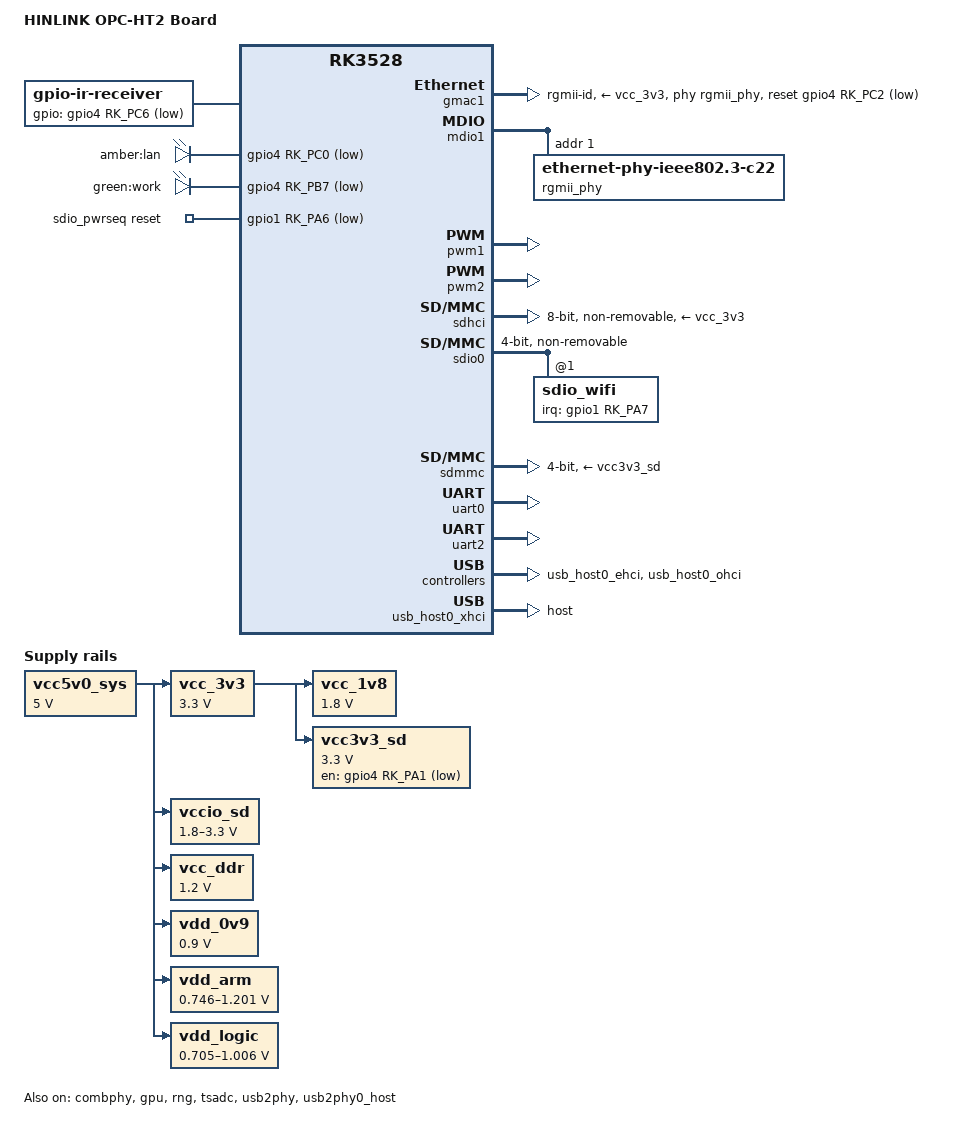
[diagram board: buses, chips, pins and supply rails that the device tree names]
// SPDX-License-Identifier: (GPL-2.0+ OR MIT)

/dts-v1/;
#include <dt-bindings/gpio/gpio.h>
#include <dt-bindings/pinctrl/rockchip.h>

#include "rk3528.dtsi"

/ {
	model = "HINLINK OPC-HT2 Board";
	compatible = "hinlink,opc-ht2", "rockchip,rk3528";

	aliases {
		mmc0 = &sdhci;
		mmc1 = &sdmmc;
		mmc2 = &sdio0;
		ethernet0 = &gmac1;

		led-boot = &led_work;
		led-failsafe = &led_work;
		led-running = &led_work;
		led-upgrade = &led_work;
	};

	chosen {
		stdout-path = "serial0:1500000n8";
	};

	ir-receiver {
		compatible = "gpio-ir-receiver";
		gpios = <&gpio4 RK_PC6 GPIO_ACTIVE_LOW>;
		pinctrl-names = "default";
		pinctrl-0 = <&ir_int_pin>;
	};

	leds {
		compatible = "gpio-leds";
		pinctrl-names = "default";
		pinctrl-0 = <&lan_led_en>, <&work_led_en>;

		lan {
			label = "amber:lan";
			gpios = <&gpio4 RK_PC0 GPIO_ACTIVE_LOW>;
		};

		led_work: work {
			label = "green:work";
			gpios = <&gpio4 RK_PB7 GPIO_ACTIVE_LOW>;
		};
	};

	sdio_pwrseq: sdio-pwrseq {
		compatible = "mmc-pwrseq-simple";
		pinctrl-names = "default";
		pinctrl-0 = <&wifi_enable_h>;
		reset-gpios = <&gpio1 RK_PA6 GPIO_ACTIVE_LOW>;
	};

	vcc5v0_sys: vcc5v0-sys {
		compatible = "regulator-fixed";
		regulator-name = "vcc5v0_sys";
		regulator-always-on;
		regulator-boot-on;
		regulator-min-microvolt = <5000000>;
		regulator-max-microvolt = <5000000>;
	};

	vcc_3v3: vcc-3v3 {
		compatible = "regulator-fixed";
		regulator-name = "vcc_3v3";
		regulator-always-on;
		regulator-boot-on;
		regulator-min-microvolt = <3300000>;
		regulator-max-microvolt = <3300000>;
		vin-supply = <&vcc5v0_sys>;
	};

	vcc_1v8: vcc-1v8 {
		compatible = "regulator-fixed";
		regulator-name = "vcc_1v8";
		regulator-always-on;
		regulator-boot-on;
		regulator-min-microvolt = <1800000>;
		regulator-max-microvolt = <1800000>;
		vin-supply = <&vcc_3v3>;
	};

	vcc3v3_sd: vcc3v3-sd {
		compatible = "regulator-fixed";
		gpio = <&gpio4 RK_PA1 GPIO_ACTIVE_LOW>;
		regulator-name = "vcc3v3_sd";
		regulator-always-on;
		regulator-boot-on;
		regulator-min-microvolt = <3300000>;
		regulator-max-microvolt = <3300000>;
		vin-supply = <&vcc_3v3>;
	};

	vccio_sd: vccio-sd {
		compatible = "regulator-gpio";
		gpios = <&gpio4 RK_PB6 GPIO_ACTIVE_HIGH>;
		regulator-name = "vccio_sd";
		regulator-min-microvolt = <1800000>;
		regulator-max-microvolt = <3300000>;
		states = <1800000 0x0>, <3300000 0x1>;
		vin-supply = <&vcc5v0_sys>;
	};

	vcc_ddr: vcc-ddr {
		compatible = "regulator-fixed";
		regulator-name = "vcc_ddr";
		regulator-always-on;
		regulator-boot-on;
		regulator-min-microvolt = <1200000>;
		regulator-max-microvolt = <1200000>;
		vin-supply = <&vcc5v0_sys>;
	};

	vdd_0v9: vdd-0v9 {
		compatible = "regulator-fixed";
		regulator-name = "vdd_0v9";
		regulator-always-on;
		regulator-boot-on;
		regulator-min-microvolt = <900000>;
		regulator-max-microvolt = <900000>;
		vin-supply = <&vcc5v0_sys>;
	};

	vdd_arm: vdd-arm {
		compatible = "pwm-regulator";
		pwms = <&pwm1 0 5000 1>;
		regulator-name = "vdd_arm";
		regulator-min-microvolt = <746000>;
		regulator-max-microvolt = <1201000>;
		regulator-always-on;
		regulator-boot-on;
		regulator-settling-time-up-us = <250>;
		pwm-supply = <&vcc5v0_sys>;
	};

	vdd_logic: vdd-logic {
		compatible = "pwm-regulator";
		pwms = <&pwm2 0 5000 1>;
		regulator-name = "vdd_logic";
		regulator-min-microvolt = <705000>;
		regulator-max-microvolt = <1006000>;
		regulator-always-on;
		regulator-boot-on;
		regulator-settling-time-up-us = <250>;
		pwm-supply = <&vcc5v0_sys>;
	};
};

&combphy {
	status = "okay";
};

&cpu0 {
	cpu-supply = <&vdd_arm>;
};

&cpu1 {
	cpu-supply = <&vdd_arm>;
};

&cpu2 {
	cpu-supply = <&vdd_arm>;
};

&cpu3 {
	cpu-supply = <&vdd_arm>;
};

&gmac1 {
	clock_in_out = "output";
	pinctrl-names = "default";
	pinctrl-0 = <&rgmii_miim
		     &rgmii_tx_bus2
		     &rgmii_rx_bus2
		     &rgmii_rgmii_clk
		     &rgmii_rgmii_bus>;
	phy-handle = <&rgmii_phy>;
	phy-mode = "rgmii-id";
	phy-supply = <&vcc_3v3>;
	snps,reset-active-low;
	snps,reset-delays-us = <0 20000 100000>;
	snps,reset-gpio = <&gpio4 RK_PC2 GPIO_ACTIVE_LOW>;
	status = "okay";
};

&gpu {
	mali-supply = <&vdd_logic>;
	status = "okay";
};

&mdio1 {
	rgmii_phy: phy@1 {
		compatible = "ethernet-phy-ieee802.3-c22";
		reg = <0x1>;
	};
};

&pinctrl {
	ir {
		ir_int_pin: ir-int-pin {
			rockchip,pins = <4 RK_PC6 RK_FUNC_GPIO &pcfg_pull_up>;
		};
	};

	leds {
		lan_led_en: lan-led-en {
			rockchip,pins = <4 RK_PC0 RK_FUNC_GPIO &pcfg_pull_none>;
		};

		work_led_en: led-work-en {
			rockchip,pins = <4 RK_PB7 RK_FUNC_GPIO &pcfg_pull_none>;
		};
	};

	wifi {
		wifi_enable_h: wifi-enable-h {
			rockchip,pins = <1 RK_PA6 RK_FUNC_GPIO &pcfg_pull_none>;
		};

		wifi_host_wake: wifi-host-wake {
			rockchip,pins = <1 RK_PA7 RK_FUNC_GPIO &pcfg_pull_down>;
		};
	};

	bluetooth {
		bt_enable_h: bt-enable-h {
			rockchip,pins = <1 RK_PC1 RK_FUNC_GPIO &pcfg_pull_down>;
		};
	};
};

&pwm1 {
	status = "okay";
};

&pwm2 {
	status = "okay";
};

&rng {
	status = "okay";
};

&sdhci {
	bus-width = <8>;
	mmc-hs200-1_8v;
	max-frequency = <200000000>;
	non-removable;
	pinctrl-names = "default";
	pinctrl-0 = <&emmc_bus8 &emmc_clk &emmc_cmd &emmc_strb>;
	vmmc-supply = <&vcc_3v3>;
	vqmmc-supply = <&vcc_1v8>;
	status = "okay";
};

&sdio0 {
	#address-cells = <1>;
	#size-cells = <0>;
	bus-width = <4>;
	cap-sd-highspeed;
	cap-sdio-irq;
	keep-power-in-suspend;
	max-frequency = <200000000>;
	mmc-pwrseq = <&sdio_pwrseq>;
	pinctrl-names = "default";
	pinctrl-0 = <&sdio0_bus4 &sdio0_cmd &sdio0_clk>;
	post-power-on-delay-ms = <50>;
	non-removable;
	sd-uhs-sdr104;
	status = "okay";

	sdio_wifi@1 {
		reg = <1>;
		interrupt-parent = <&gpio1>;
		interrupts = <RK_PA7 IRQ_TYPE_LEVEL_HIGH>;
		interrupt-names = "host-wake";
		pinctrl-names = "default";
		pinctrl-0 = <&wifi_host_wake>;
	};
};

&sdmmc {
	bus-width = <4>;
	cap-sd-highspeed;
	disable-wp;
	max-frequency = <150000000>;
	pinctrl-names = "default";
	pinctrl-0 = <&sdmmc_bus4 &sdmmc_clk &sdmmc_cmd &sdmmc_det>;
	rockchip,default-sample-phase = <90>;
	sd-uhs-sdr12;
	sd-uhs-sdr25;
	sd-uhs-sdr50;
	sd-uhs-sdr104;
	vmmc-supply = <&vcc3v3_sd>;
	vqmmc-supply = <&vccio_sd>;
	status = "okay";
};

&tsadc {
	status = "okay";
};

&uart0 {
	pinctrl-names = "default";
	pinctrl-0 = <&uart0m0_xfer>;
	status = "okay";
};

&uart2 {
	pinctrl-names = "default";
	pinctrl-0 = <&uart2m1_xfer &uart2m1_ctsn>;
	status = "okay";
};

&usb2phy {
	status = "okay";
};

&usb2phy0_host {
	phy-supply = <&vcc5v0_sys>;
	status = "okay";
};

&usb_host0_ehci {
	status = "okay";
};

&usb_host0_ohci {
	status = "okay";
};

&usb_host0_xhci {
	dr_mode = "host";
	status = "okay";
};
